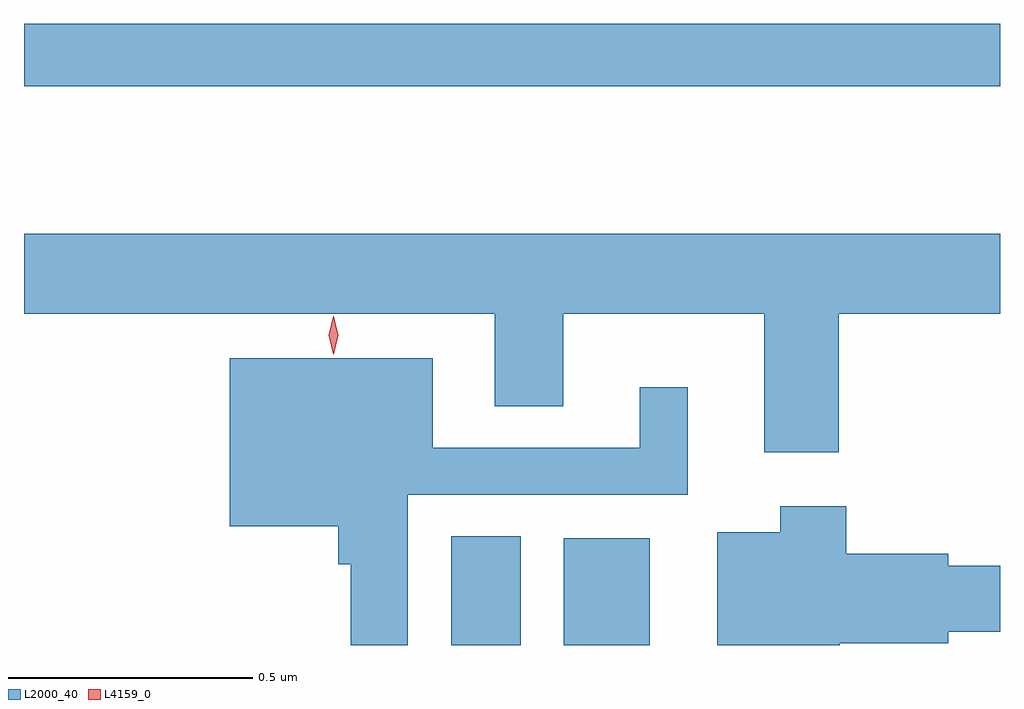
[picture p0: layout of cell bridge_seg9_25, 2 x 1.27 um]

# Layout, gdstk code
import gdstk
lib = gdstk.Library(unit=1e-6, precision=1e-09)
def R(c, l, rs):  # rectangles x0, y0, x1, y1
    for r in rs: c.add(gdstk.rectangle(r[:2], r[2:], *l))
def P(c, l, *ps):  # polygons
    for p in ps: c.add(gdstk.Polygon(p, *l))
L2000_40 = (2000, 40)
L4159_0 = (4159, 0)

bridge_seg9_25 = lib.new_cell('bridge_seg9_25')
R(bridge_seg9_25, L2000_40, [(1013.393,1201.069,1013.536,1201.292), (1013.624,1201.069,1013.8,1201.288), (1012.518,1202.214,1014.518,1202.342)])
P(bridge_seg9_25, L2000_40, [(1014.188,1201.748),(1014.518,1201.748),(1014.518,1201.912),(1012.518,1201.912),(1012.518,1201.748),(1013.483,1201.748),(1013.483,1201.558),(1013.623,1201.558),(1013.623,1201.748),(1014.035,1201.748),(1014.035,1201.464),(1014.188,1201.464)],
  [(1013.304,1201.377),(1013.878,1201.377),(1013.878,1201.597),(1013.78,1201.597),(1013.78,1201.473),(1013.356,1201.473),(1013.356,1201.657),(1012.94,1201.657),(1012.94,1201.313),(1013.162,1201.313),(1013.162,1201.235),(1013.188,1201.235),(1013.188,1201.069),(1013.304,1201.069)],
  [(1014.19,1201.073),(1014.412,1201.073),(1014.412,1201.096),(1014.518,1201.096),(1014.518,1201.232),(1014.412,1201.232),(1014.412,1201.256),(1014.203,1201.256),(1014.203,1201.354),(1014.068,1201.354),(1014.068,1201.3),(1013.939,1201.3),(1013.939,1201.069),(1014.19,1201.069)])
P(bridge_seg9_25, L4159_0, [(1013.152,1201.665),(1013.152,1201.665),(1013.142,1201.704),(1013.152,1201.743),(1013.152,1201.743),(1013.153,1201.743),(1013.162,1201.704),(1013.153,1201.665)])

lib.write_gds('bridge_seg9_25.gds')
